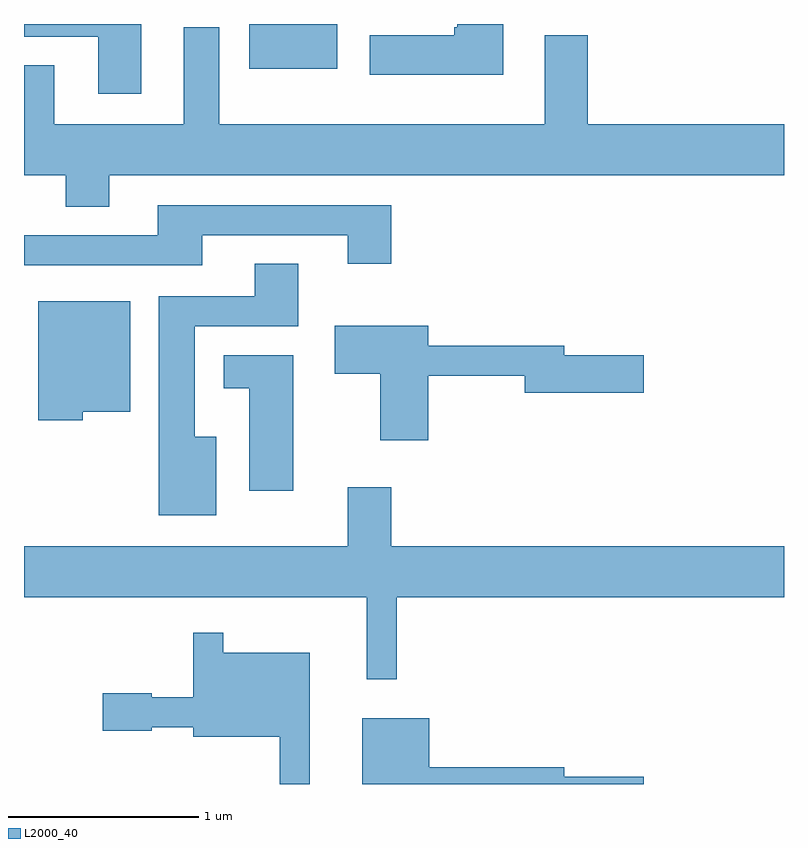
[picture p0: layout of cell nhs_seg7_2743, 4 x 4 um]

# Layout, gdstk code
import gdstk
lib = gdstk.Library(unit=1e-6, precision=1e-09)
def R(c, l, rs):  # rectangles x0, y0, x1, y1
    for r in rs: c.add(gdstk.rectangle(r[:2], r[2:], *l))
def P(c, l, *ps):  # polygons
    for p in ps: c.add(gdstk.Polygon(p, *l))
L2000_40 = (2000, 40)

nhs_seg7_2743 = lib.new_cell('nhs_seg7_2743')
R(nhs_seg7_2743, L2000_40, [(270.796,1686.016,271.259,1686.252)])
P(nhs_seg7_2743, L2000_40, [(270.229,1686.252),(269.611,1686.252),(269.611,1686.186),(270.001,1686.186),(270.001,1685.886),(270.229,1685.886)],
  [(272.134,1686.252),(271.891,1686.252),(271.891,1686.235),(271.876,1686.235),(271.876,1686.194),(271.431,1686.194),(271.431,1685.986),(272.134,1685.986)],
  [(270.059,1685.456),(273.611,1685.456),(273.611,1685.724),(272.579,1685.724),(272.579,1686.194),(272.351,1686.194),(272.351,1685.724),(270.639,1685.724),(270.639,1686.234),(270.451,1686.234),(270.451,1685.724),(269.769,1685.724),(269.769,1686.034),(269.611,1686.034),(269.611,1685.456),(269.831,1685.456),(269.831,1685.291),(270.059,1685.291)],
  [(270.549,1685.141),(271.316,1685.141),(271.316,1684.991),(271.544,1684.991),(271.544,1685.299),(270.316,1685.299),(270.316,1685.139),(269.611,1685.139),(269.611,1684.981),(270.549,1684.981)],
  [(270.624,1684.079),(270.509,1684.079),(270.509,1684.661),(271.054,1684.661),(271.054,1684.989),(270.826,1684.989),(270.826,1684.819),(270.321,1684.819),(270.321,1683.666),(270.624,1683.666)],
  [(269.919,1684.211),(270.169,1684.211),(270.169,1684.794),(269.686,1684.794),(269.686,1684.166),(269.919,1684.166)],
  [(271.739,1684.401),(272.246,1684.401),(272.246,1684.311),(272.874,1684.311),(272.874,1684.509),(272.454,1684.509),(272.454,1684.559),(271.739,1684.559),(271.739,1684.664),(271.246,1684.664),(271.246,1684.411),(271.486,1684.411),(271.486,1684.061),(271.739,1684.061)],
  [(271.029,1684.509),(270.661,1684.509),(270.661,1684.336),(270.796,1684.336),(270.796,1683.796),(271.029,1683.796)],
  [(271.574,1683.236),(273.611,1683.236),(273.611,1683.504),(271.544,1683.504),(271.544,1683.814),(271.316,1683.814),(271.316,1683.504),(269.611,1683.504),(269.611,1683.236),(271.416,1683.236),(271.416,1682.803),(271.574,1682.803)],
  [(271.114,1682.944),(270.659,1682.944),(270.659,1683.048),(270.501,1683.048),(270.501,1682.709),(270.284,1682.709),(270.284,1682.729),(270.026,1682.729),(270.026,1682.531),(270.284,1682.531),(270.284,1682.551),(270.501,1682.551),(270.501,1682.501),(270.956,1682.501),(270.956,1682.252),(271.114,1682.252)],
  [(272.874,1682.289),(272.454,1682.289),(272.454,1682.339),(271.744,1682.339),(271.744,1682.599),(271.391,1682.599),(271.391,1682.252),(272.874,1682.252)])

lib.write_gds('nhs_seg7_2743.gds')
